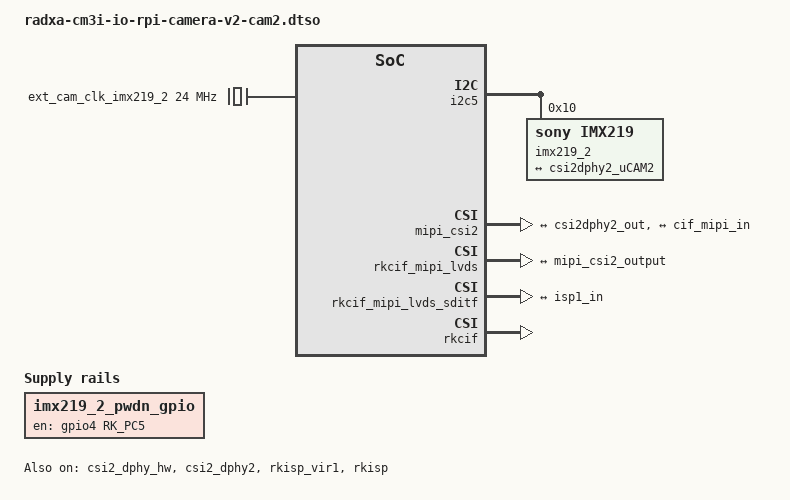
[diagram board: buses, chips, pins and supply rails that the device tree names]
/dts-v1/;
/plugin/;

#include <dt-bindings/gpio/gpio.h>
#include <dt-bindings/pinctrl/rockchip.h>

/ {
	metadata {
		title = "Enable Raspberry Pi Camera v2 on CAM2";
		compatible = "radxa,cm3i-io";
		category = "camera";
		exclusive = "csi2_dphy2";
		description = "Enable Raspberry Pi Camera v2 on CAM2.";
	};
};

&{/} {
	ext_cam_clk_imx219_2: ext-cam-clk-imx219-2 {
		status = "okay";
		compatible = "fixed-clock";
		clock-frequency = <24000000>;
		clock-output-names = "ext_cam_clk_imx219_2";
		#clock-cells = <0>;
	};

	imx219_2_pwdn_gpio: imx219-2-pwdn-gpio {
		status = "okay";
		compatible = "regulator-fixed";
		regulator-name = "imx219_2_pwdn_gpio";
		regulator-always-on;
		regulator-boot-on;
		enable-active-high;
		gpio = <&gpio4 RK_PC5 GPIO_ACTIVE_HIGH>;
	};
};

&i2c5 {
	status = "okay";
	pinctrl-names = "default";
	pinctrl-0 = <&i2c5m0_xfer>;

	#address-cells = <1>;
	#size-cells = <0>;
	imx219_2: imx219-2@10 {
		status = "okay";
		compatible = "sony,imx219";
		reg = <0x10>;
		clocks = <&ext_cam_clk_imx219_2>;
		clock-names = "xvclk";
		rockchip,camera-module-index = <1>;
		rockchip,camera-module-facing = "back";
		rockchip,camera-module-name = "rpi-camera-v2";
		rockchip,camera-module-lens-name = "default";

		port {
			imx219_2_out: endpoint {
				remote-endpoint = <&csi2dphy2_uCAM2>;
				data-lanes = <1 2>;
			};
		};
	};
};

&csi2_dphy_hw {
	status = "okay";
};

&csi2_dphy2 {
	status = "okay";
	ports {
		#address-cells = <1>;
		#size-cells = <0>;
		port@0 {
			reg = <0>;
			#address-cells = <1>;
			#size-cells = <0>;

			csi2dphy2_uCAM2: endpoint@1 {
				reg = <1>;
				remote-endpoint = <&imx219_2_out>;
				data-lanes = <1 2>;
			};
		};

		port@1 {
			reg = <1>;
			#address-cells = <1>;
			#size-cells = <0>;

			csi2dphy2_out: endpoint@1 {
				reg = <1>;
				remote-endpoint = <&mipi_csi2_input>;
			};
		};
	};
};

&mipi_csi2 {
	status = "okay";
	ports {
		#address-cells = <1>;
		#size-cells = <0>;

		port@0 {
			reg = <0>;
			#address-cells = <1>;
			#size-cells = <0>;

			mipi_csi2_input: endpoint@1 {
				reg = <1>;
				remote-endpoint = <&csi2dphy2_out>;
				data-lanes = <1 2>;
			};
		};

		port@1 {
			reg = <1>;
			#address-cells = <1>;
			#size-cells = <0>;
			mipi_csi2_output: endpoint@0 {
				reg = <0>;
				remote-endpoint = <&cif_mipi_in>;
				data-lanes = <1 2>;
			};
		};
	};
};

&rkcif_mipi_lvds {
	status = "okay";
	port {
		cif_mipi_in: endpoint {
			remote-endpoint = <&mipi_csi2_output>;
			data-lanes = <1 2>;
		};
	};
};

&rkcif_mipi_lvds_sditf {
	status = "okay";
	port {
		mipi_lvds_sditf: endpoint {
			remote-endpoint = <&isp1_in>;
			data-lanes = <1 2>;
		};
	};
};

&rkisp_vir1 {
	status = "okay";

	port {
		#address-cells = <1>;
		#size-cells = <0>;

		isp1_in: endpoint@0 {
			reg = <0>;
			remote-endpoint = <&mipi_lvds_sditf>;
		};
	};
};

&rkisp {
	status = "okay";
};

&rkisp_mmu {
	status = "okay";
};

&rkcif_mmu {
	status = "okay";
};

&rkcif {
	status = "okay";
};
